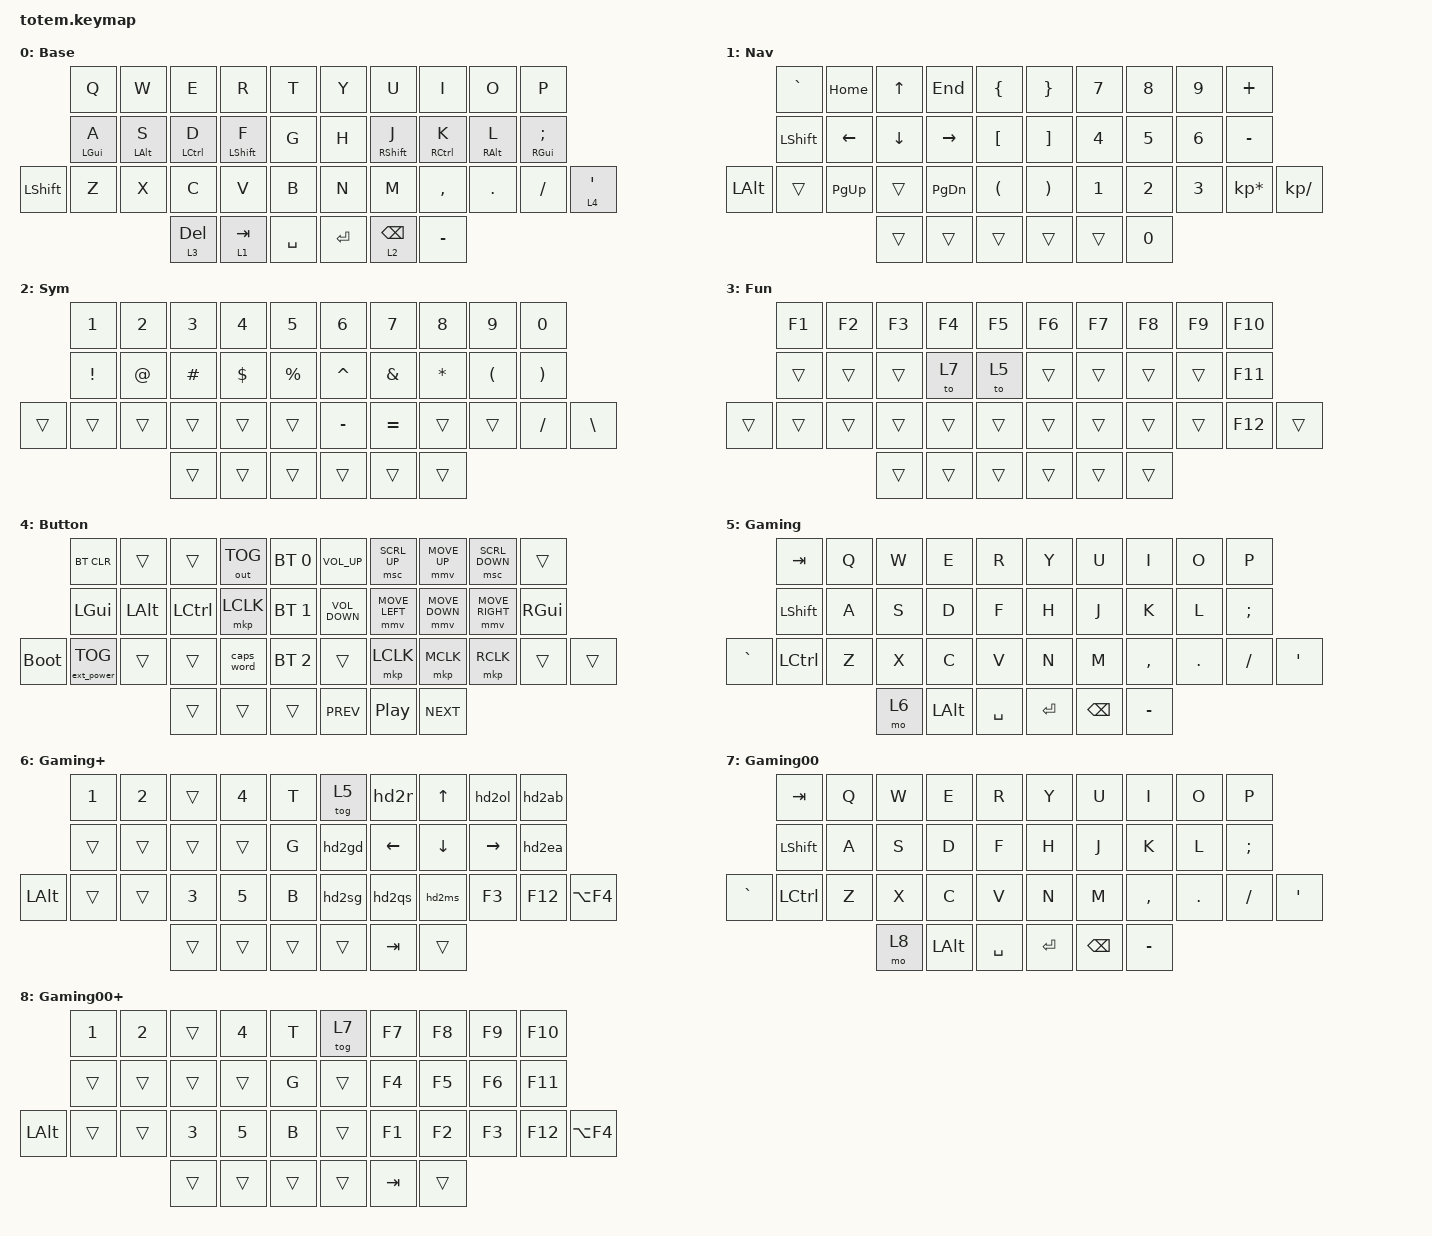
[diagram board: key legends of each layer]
//
//                                                        ▀▀▀▀▀     ▀▀▀▀▀          ▀▀█▀▀
//                                                        ▄▀▀▀▄  ▄  ▄▀▀▀▄  ▄  ▄▀▀▀▄  █  ▄▀▀▀▄
//                                                        █   █  █  █   █  █  █   █  █  █   █
//                                                         ▀▀▀   █   ▀▀▀   █   ▀▀▀   ▀   ▀▀▀
//                                                               █      ▄▄▄█▄▄▄    █   █  
//                                                               ▀      █  █  █     █▄█
//                                                             ▀▀▀▀▀    █  █  █      ▀
//                                                                      ▀  ▀  ▀
//
// ▄▄▄▄▄▄▄▄▄▄▄▄▄▄▄▄▄▄▄▄▄▄▄▄▄▄▄▄▄▄▄▄▄▄▄▄▄▄▄▄▄▄▄▄▄▄▄▄▄▄▄▄▄▄▄▄▄▄▄▄▄▄▄▄▄▄▄▄▄▄▄▄▄▄▄▄▄▄▄▄▄▄▄▄▄▄▄▄▄▄▄▄▄▄▄▄▄▄▄▄▄▄▄▄▄▄▄▄▄▄▄▄▄▄▄▄▄▄▄▄▄▄▄▄▄▄▄▄▄▄▄▄▄▄▄▄▄▄▄▄▄▄▄▄▄▄▄▄▄

#include <behaviors.dtsi>
#include <dt-bindings/zmk/bt.h>
#include <dt-bindings/zmk/ext_power.h>
#include <dt-bindings/zmk/keys.h>
#include <dt-bindings/zmk/outputs.h>
#include <dt-bindings/zmk/pointing.h>

#define Base        0
#define Nav         1
#define Sym         2
#define Fun         3
#define Button      4
#define Game        5
#define Gameplus    6

&mt {
    quick-tap-ms = <100>;
    global-quick-tap;
    flavor = "tap-preferred";
    tapping-term-ms = <170>;
};

&lt {
    tapping-term-ms = <240>;
    flavor = "balanced";
    quick-tap-ms = <150>;
};

&mo { locking; };

/ {
    behaviors {
        hm: homerow_mods {
            compatible = "zmk,behavior-hold-tap";
            #binding-cells = <2>;
            flavor = "tap-preferred";
            tapping-term-ms = <200>;
            quick-tap-ms = <125>;
            global-quick-tap;
            bindings = <&kp>, <&kp>;
        };

        hml: HMLeft {
            compatible = "zmk,behavior-hold-tap";
            bindings = <&kp>, <&kp>;

            #binding-cells = <2>;
            tapping-term-ms = <280>;
            quick-tap-ms = <175>;
            require-prior-idle-ms = <150>;
            flavor = "balanced";
            hold-trigger-key-positions = <5 15 27 26 35 34 33 32 36 37 16 6 7 28 17 8 18 29 19 9 30 31>;
            hold-trigger-on-release;
        };

        hmr: HMRight {
            compatible = "zmk,behavior-hold-tap";
            bindings = <&kp>, <&kp>;

            #binding-cells = <2>;
            tapping-term-ms = <280>;
            quick-tap-ms = <175>;
            require-prior-idle-ms = <150>;
            flavor = "balanced";
            hold-trigger-on-release;
            hold-trigger-key-positions = <0 1 2 3 4 10 11 12 13 14 20 21 22 23 24 25 24 25 32 33 34 34 35 36 37>;
        };
    };

    macros {
        hd2gd: hd2gd {
            compatible = "zmk,behavior-macro";
            #binding-cells = <0>;
            wait-ms = <80>;
            tap-ms = <40>;
            bindings =
                <&macro_press>,
                <&kp LCTRL>,
                <&macro_tap>,
                <&kp DOWN &kp UP &kp LEFT &kp UP &kp RIGHT &kp RIGHT>,
                <&macro_release>,
                <&kp LCTRL>;
        };

        hd2ol: hd2ol {
            compatible = "zmk,behavior-macro";
            #binding-cells = <0>;
            wait-ms = <80>;
            tap-ms = <40>;
            bindings =
                <&macro_press>,
                <&kp LCTRL>,
                <&macro_tap>,
                <&kp RIGHT &kp DOWN &kp UP &kp RIGHT &kp DOWN>,
                <&macro_release>,
                <&kp LCTRL>;
        };

        hd2r: hd2r {
            compatible = "zmk,behavior-macro";
            #binding-cells = <0>;
            wait-ms = <80>;
            tap-ms = <40>;
            bindings =
                <&macro_press>,
                <&kp LCTRL>,
                <&macro_tap>,
                <&kp UP &kp DOWN &kp RIGHT &kp LEFT &kp UP>,
                <&macro_release>,
                <&kp LCTRL>;
        };

        hd2ab: hd2ab {
            compatible = "zmk,behavior-macro";
            #binding-cells = <0>;
            wait-ms = <80>;
            tap-ms = <40>;
            bindings =
                <&macro_press>,
                <&kp LCTRL>,
                <&macro_tap>,
                <&kp UP &kp RIGHT &kp DOWN &kp DOWN &kp DOWN>,
                <&macro_release>,
                <&kp LCTRL>;
        };

        hd2ea: hd2ea {
            compatible = "zmk,behavior-macro";
            #binding-cells = <0>;
            wait-ms = <80>;
            tap-ms = <40>;
            bindings =
                <&macro_press>,
                <&kp LCTRL>,
                <&macro_tap>,
                <&kp UP &kp RIGHT &kp DOWN &kp RIGHT>,
                <&macro_release>,
                <&kp LCTRL>;
        };

        hd2qs: hd2qs {
            compatible = "zmk,behavior-macro";
            #binding-cells = <0>;
            wait-ms = <80>;
            tap-ms = <40>;
            bindings =
                <&macro_press>,
                <&kp LCTRL>,
                <&macro_tap>,
                <&kp DOWN &kp DOWN &kp UP &kp LEFT &kp RIGHT>,
                <&macro_release>,
                <&kp LCTRL>;
        };

        hd2sg: hd2sg {
            compatible = "zmk,behavior-macro";
            #binding-cells = <0>;
            wait-ms = <80>;
            tap-ms = <40>;
            bindings =
                <&macro_press>,
                <&kp LCTRL>,
                <&macro_tap>,
                <&kp DOWN &kp UP &kp LEFT &kp RIGHT &kp LEFT &kp RIGHT>,
                <&macro_release>,
                <&kp LCTRL>;
        };

        hd2ms: hd2ms {
            compatible = "zmk,behavior-macro";
            #binding-cells = <0>;
            wait-ms = <80>;
            tap-ms = <40>;
            bindings =
                <&macro_press>,
                <&kp LCTRL>,
                <&macro_tap>,
                <&kp DOWN &kp UP &kp RIGHT &kp RIGHT &kp DOWN>,
                <&macro_release>,
                <&kp LCTRL>;
        };
    };

    combos {
        compatible = "zmk,combos";

        esc {
            bindings = <&kp ESC>;
            key-positions = <0 1>;
        };

        backspace {
            bindings = <&kp BACKSPACE>;
            key-positions = <16 17>;
        };

        delete {
            bindings = <&kp DEL>;
            key-positions = <27 28>;
        };
    };

    keymap {
        compatible = "zmk,keymap";

        Base {
            display-name = "Base";
            bindings = <
                &kp Q            &kp W        &kp E        &kp R          &kp T        &kp Y    &kp U         &kp I         &kp O        &kp P
                &hml LEFT_GUI A  &hml LALT S  &hm LCTRL D  &hml LSHIFT F  &kp G        &kp H    &hmr RSHFT J  &hmr RCTRL K  &hmr RALT L  &hmr RGUI SEMICOLON
&kp LEFT_SHIFT  &kp Z            &kp X        &kp C        &kp V          &kp B        &kp N    &kp M         &kp COMMA     &kp DOT      &kp SLASH            &lt 4 APOSTROPHE
                                              &lt 3 DEL    &lt 1 TAB      &kp SPACE    &kp RET  &lt 2 BSPC    &kp MINUS
            >;
        };

        Nav {
            display-name = "Nav";
            bindings = <
              &kp GRAVE       &kp HOME     &kp UP  &kp END    &kp LBRC    &kp RBRC  &kp NUMBER_7  &kp NUMBER_8  &kp NUMBER_9  &kp PLUS
              &kp LEFT_SHIFT  &kp LEFT     &kp DOWN      &kp RIGHT  &kp LBKT    &kp RBKT  &kp NUMBER_4  &kp NUMBER_5  &kp NUMBER_6  &kp MINUS
&kp LEFT_ALT  &trans          &kp PAGE_UP  &trans        &kp PG_DN  &kp LPAR    &kp RPAR  &kp NUMBER_1  &kp NUMBER_2  &kp NUMBER_3  &kp KP_MULTIPLY  &kp KP_SLASH
                                           &trans        &trans     &trans      &trans    &trans        &kp NUMBER_0
            >;
        };

        Sym {
            display-name = "Sym";
            bindings = <
        &kp NUMBER_1  &kp NUMBER_2  &kp NUMBER_3  &kp NUMBER_4  &kp NUMBER_5    &kp NUMBER_6  &kp N7     &kp N8     &kp N9                &kp N0
        &kp EXCL      &kp AT        &kp HASH      &kp DOLLAR    &kp PERCENT     &kp CARET     &kp AMPS   &kp ASTRK  &kp LEFT_PARENTHESIS  &kp RIGHT_PARENTHESIS
&trans  &trans        &trans        &trans        &trans        &trans          &kp MINUS     &kp EQUAL  &trans     &trans                &kp SLASH              &kp BACKSLASH
                                    &trans        &trans        &trans          &trans        &trans     &trans
            >;
        };

        Fun {
            display-name = "Fun";
            bindings = <
        &kp F1  &kp F2  &kp F3  &kp F4  &kp F5    &kp F6  &kp F7  &kp F8  &kp F9  &kp F10
        &trans  &trans  &trans  &to 7   &to 5     &trans  &trans  &trans  &trans  &kp F11
&trans  &trans  &trans  &trans  &trans  &trans    &trans  &trans  &trans  &trans  &kp F12  &trans
                        &trans  &trans  &trans    &trans  &trans  &trans
            >;
        };

        Button {
            display-name = "Button";
            bindings = <
             &bt BT_CLR         &trans    &trans     &out OUT_TOG  &bt BT_SEL 0    &kp C_VOLUME_UP    &msc SCRL_UP      &mmv MOVE_UP    &msc SCRL_DOWN   &trans
             &kp LGUI           &kp LALT  &kp LCTRL  &mkp LCLK     &bt BT_SEL 1    &kp C_VOLUME_DOWN  &mmv MOVE_LEFT    &mmv MOVE_DOWN  &mmv MOVE_RIGHT  &kp RGUI
&bootloader  &ext_power EP_TOG  &trans    &trans     &caps_word    &bt BT_SEL 2    &trans             &mkp LCLK         &mkp MCLK       &mkp RCLK        &trans    &trans
                                          &trans     &trans        &trans          &kp C_PREV         &kp C_PLAY_PAUSE  &kp C_NEXT
            >;
        };

        Gaming {
            bindings = <
           &kp TAB           &kp Q  &kp W  &kp E         &kp R        &kp Y    &kp U     &kp I      &kp O    &kp P
           &kp LEFT_SHIFT    &kp A  &kp S  &kp D         &kp F        &kp H    &kp J     &kp K      &kp L    &kp SEMICOLON
&kp GRAVE  &kp LEFT_CONTROL  &kp Z  &kp X  &kp C         &kp V        &kp N    &kp M     &kp COMMA  &kp DOT  &kp SLASH      &kp APOS
                                    &mo 6  &kp LEFT_ALT  &kp SPACE    &kp RET  &kp BSPC  &kp MINUS
            >;

            display-name = "Gaming";
        };

        Gaming+ {
            bindings = <
              &kp NUMBER_1  &kp NUMBER_2  &trans        &kp NUMBER_4  &kp T     &tog 5  &hd2r     &kp UP    &hd2ol     &hd2ab
              &trans        &trans        &trans        &trans        &kp G     &hd2gd  &kp LEFT  &kp DOWN  &kp RIGHT  &hd2ea
&kp LEFT_ALT  &trans        &trans        &kp NUMBER_3  &kp NUMBER_5  &kp B     &hd2sg  &hd2qs    &hd2ms    &kp F3     &kp F12  &kp LA(F4)
                                          &trans        &trans        &trans    &trans  &kp TAB   &trans
            >;

            display-name = "Gaming+";
        };

        Gaming00 {
            display-name = "Gaming00";
            bindings = <
           &kp TAB           &kp Q  &kp W  &kp E         &kp R        &kp Y    &kp U     &kp I      &kp O    &kp P
           &kp LEFT_SHIFT    &kp A  &kp S  &kp D         &kp F        &kp H    &kp J     &kp K      &kp L    &kp SEMICOLON
&kp GRAVE  &kp LEFT_CONTROL  &kp Z  &kp X  &kp C         &kp V        &kp N    &kp M     &kp COMMA  &kp DOT  &kp SLASH      &kp APOS
                                    &mo 8  &kp LEFT_ALT  &kp SPACE    &kp RET  &kp BSPC  &kp MINUS
            >;
        };

        Gaming00+ {
            bindings = <
              &kp NUMBER_1  &kp NUMBER_2  &trans        &kp NUMBER_4  &kp T     &tog 7  &kp F7   &kp F8  &kp F9  &kp F10
              &trans        &trans        &trans        &trans        &kp G     &trans  &kp F4   &kp F5  &kp F6  &kp F11
&kp LEFT_ALT  &trans        &trans        &kp NUMBER_3  &kp NUMBER_5  &kp B     &trans  &kp F1   &kp F2  &kp F3  &kp F12  &kp LA(F4)
                                          &trans        &trans        &trans    &trans  &kp TAB  &trans
            >;

            display-name = "Gaming00+";
        };
    };
};
